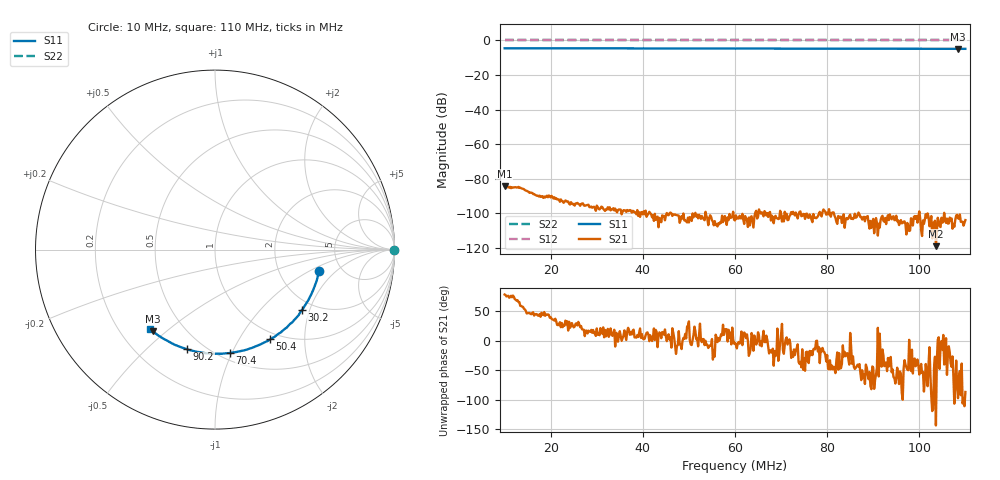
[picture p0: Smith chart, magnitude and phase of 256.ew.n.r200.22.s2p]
! Anritsu VNA Master:  Model: MS2036C/10/77
! SN:  1601066
! /card0/usr/256.ew.n.r200.22.s2p
! Existing Calibration Information:
! TYPE:  Current Settings,  Active Cal Settings
! TIME:  12/19/2017 03:12:48 PM,  12/19/2017 02:53:44 PM
! INTERNAL TEMP:  46.8 C,  46.3 C
! # POINTS:  501,  501
! START FREQ:  10.000 MHz,  10.000 MHz
! STOP FREQ:  110.000 MHz,  110.000 MHz
! SOURCE POWER:  High,  High
! IFBW:  100 Hz,  100 Hz
! AVG FACTOR:  1 ,  1
! REF PLANE 1:  0 mm,  0 mm
! REF PLANE 2:  0 mm,  0 mm
! CAL TYPE:  Full S11,  Full S11
! CAL METHOD:  SOLT,  SOLT
! CAL LINE TYPE:  Coax,  Coax
! DUT PORT 1:  N-Conn(F),  N-Conn(F)
! DUT PORT 2:  K-Conn(F),  K-Conn(F)
! CAL STATUS:  OK: Accuracy High,  --
# GHZ S DB R 50.0
! FREQ.GHZ  S11DB  S11A  S21DB  S21A  S12DB  S12A  S22DB  S22A
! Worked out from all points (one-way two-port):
!   501 points, 10 MHz to 110 MHz, reference 50 ohm
!   highest |S21| = -84.48 dB at 10 MHz (marker M1); lowest = -119.1 dB at 103.6 MHz (marker M2)
!   lowest |S11| = -4.9 dB at 108.4 MHz (marker M3), VSWR 3.67, Z = 16.6 - j22.4 ohm
!   |S11| at or under -10 dB: nowhere
!   |S22| runs from 0.0 to 0.0 dB; largest |S21 - S12| = 1
!   S11 on the Smith chart (normalised r, x): 10 MHz: 3.42, -1.23; 30.2 MHz: 1.72, -1.77; 50.4 MHz: 0.90, -1.37; 70.4 MHz: 0.56, -0.98; 90.2 MHz: 0.41, -0.68; 110 MHz: 0.33, -0.43
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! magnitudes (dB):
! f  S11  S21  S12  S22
! 10 MHz  -4.6  -84.5  0.0  0.0
! 26.8 MHz  -4.6  -94.4  0.0  0.0
! 30.2 MHz  -4.6  -96.4  0.0  0.0
! 31.2 MHz  -4.6  -96.5  0.0  0.0
! 33.2 MHz  -4.6  -98.0  0.0  0.0
! 35.6 MHz  -4.6  -99.3  0.0  0.0
! 37.2 MHz  -4.6  -98.2  0.0  0.0
! 38.8 MHz  -4.6  -98.2  0.0  0.0
! 40.6 MHz  -4.6  -98.6  0.0  0.0
! 43.4 MHz  -4.6  -108.2  0.0  0.0
! 48 MHz  -4.6  -105.6  0.0  0.0
! 50.4 MHz  -4.6  -102.7  0.0  0.0
! 60 MHz  -4.7  -104.2  0.0  0.0
! 70.4 MHz  -4.7  -102.0  0.0  0.0
! 76.8 MHz  -4.7  -105.2  0.0  0.0
! 90.2 MHz  -4.8  -111.7  0.0  0.0
! 93.4 MHz  -4.8  -104.0  0.0  0.0
! 96.2 MHz  -4.8  -105.9  0.0  0.0
! 100.6 MHz  -4.8  -113.3  0.0  0.0
! 103.6 MHz  -4.8  -119.1  0.0  0.0
! 108.4 MHz  -4.9  -103.0  0.0  0.0
! 110 MHz  -4.9  -104.1  0.0  0.0
